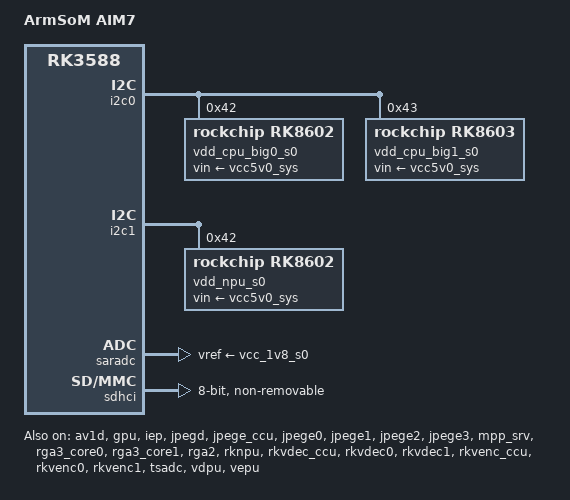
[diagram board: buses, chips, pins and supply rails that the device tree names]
// SPDX-License-Identifier: (GPL-2.0+ OR MIT)
/*
 * Copyright (c) 2024 Jianfeng Liu <liujianfeng1994@gmail.com>
 *
 */

#include <dt-bindings/gpio/gpio.h>
#include <dt-bindings/pinctrl/rockchip.h>
#include "rk3588.dtsi"
#include "rk3588-rk806-single.dtsi"

/ {
	model = "ArmSoM AIM7 ";
	compatible = "armsom,aim7", "rockchip,rk3588";

};

&av1d {
	status = "okay";
};

&av1d_mmu {
	status = "okay";
};

&cpu_l0 {
	cpu-supply = <&vdd_cpu_lit_s0>;
	mem-supply = <&vdd_cpu_lit_mem_s0>;
};

&cpu_b0 {
	cpu-supply = <&vdd_cpu_big0_s0>;
	mem-supply = <&vdd_cpu_big0_mem_s0>;
};

&cpu_b2 {
	cpu-supply = <&vdd_cpu_big1_s0>;
	mem-supply = <&vdd_cpu_big1_mem_s0>;
};

&gpu {
	mali-supply = <&vdd_gpu_s0>;
	mem-supply = <&vdd_gpu_mem_s0>;
	status = "okay";
};

&i2c0 {
	status = "okay";
	pinctrl-names = "default";
	pinctrl-0 = <&i2c0m2_xfer>;

	vdd_cpu_big0_s0: vdd_cpu_big0_mem_s0: rk8602@42 {
		compatible = "rockchip,rk8602";
		reg = <0x42>;
		vin-supply = <&vcc5v0_sys>;
		regulator-compatible = "rk860x-reg";
		regulator-name = "vdd_cpu_big0_s0";
		regulator-min-microvolt = <550000>;
		regulator-max-microvolt = <1050000>;
		regulator-ramp-delay = <2300>;
		rockchip,suspend-voltage-selector = <1>;
		regulator-boot-on;
		regulator-always-on;

		regulator-state-mem {
			regulator-off-in-suspend;
		};
	};

	vdd_cpu_big1_s0: vdd_cpu_big1_mem_s0: rk8603@43 {
		compatible = "rockchip,rk8603";
		reg = <0x43>;
		vin-supply = <&vcc5v0_sys>;
		regulator-compatible = "rk860x-reg";
		regulator-name = "vdd_cpu_big1_s0";
		regulator-min-microvolt = <550000>;
		regulator-max-microvolt = <1050000>;
		regulator-ramp-delay = <2300>;
		rockchip,suspend-voltage-selector = <1>;
		regulator-boot-on;
		regulator-always-on;

		regulator-state-mem {
			regulator-off-in-suspend;
		};
	};
};

&i2c1 {
	status = "okay";
	pinctrl-names = "default";
	pinctrl-0 = <&i2c1m2_xfer>;

	vdd_npu_s0: vdd_npu_mem_s0: rk8602@42 {
		compatible = "rockchip,rk8602";
		reg = <0x42>;
		vin-supply = <&vcc5v0_sys>;
		regulator-compatible = "rk860x-reg";
		regulator-name = "vdd_npu_s0";
		regulator-min-microvolt = <550000>;
		regulator-max-microvolt = <950000>;
		regulator-ramp-delay = <2300>;
		rockchip,suspend-voltage-selector = <1>;
		regulator-boot-on;
		regulator-always-on;

		regulator-state-mem {
			regulator-off-in-suspend;
		};
	};
};

&iep {
	status = "okay";
};

&iep_mmu {
	status = "okay";
};

&jpegd {
	status = "okay";
};

&jpegd_mmu {
	status = "okay";
};

&jpege_ccu {
	status = "okay";
};

&jpege0 {
	status = "okay";
};

&jpege0_mmu {
	status = "okay";
};

&jpege1 {
	status = "okay";
};

&jpege1_mmu {
	status = "okay";
};

&jpege2 {
	status = "okay";
};

&jpege2_mmu {
	status = "okay";
};

&jpege3 {
	status = "okay";
};

&jpege3_mmu {
	status = "okay";
};

&mpp_srv {
	status = "okay";
};

&rga3_core0 {
	status = "okay";
};

&rga3_0_mmu {
	status = "okay";
};

&rga3_core1 {
	status = "okay";
};

&rga3_1_mmu {
	status = "okay";
};

&rga2 {
	status = "okay";
};

&rknpu {
	rknpu-supply = <&vdd_npu_s0>;
	mem-supply = <&vdd_npu_mem_s0>;
	status = "okay";
};

&rknpu_mmu {
	status = "okay";
};

&rkvdec_ccu {
	status = "okay";
};

&rkvdec0 {
	status = "okay";
};

&rkvdec0_mmu {
	status = "okay";
};

&rkvdec1 {
	status = "okay";
};

&rkvdec1_mmu {
	status = "okay";
};

&rkvenc_ccu {
	status = "okay";
};

&rkvenc0 {
	status = "okay";
};

&rkvenc0_mmu {
	status = "okay";
};

&rkvenc1 {
	status = "okay";
};

&rkvenc1_mmu {
	status = "okay";
};

&rockchip_suspend {
	status = "okay";
	rockchip,sleep-debug-en = <1>;
};

&saradc {
	status = "okay";
	vref-supply = <&vcc_1v8_s0>;
};

&sdhci {
	bus-width = <8>;
	no-sdio;
	no-sd;
	non-removable;
	max-frequency = <200000000>;
	mmc-hs400-1_8v;
	mmc-hs400-enhanced-strobe;
	full-pwr-cycle-in-suspend;
	status = "okay";
};

&tsadc {
	status = "okay";
};

&vdpu {
	status = "okay";
};

&vdpu_mmu {
	status = "okay";
};

&vepu {
	status = "okay";
};
